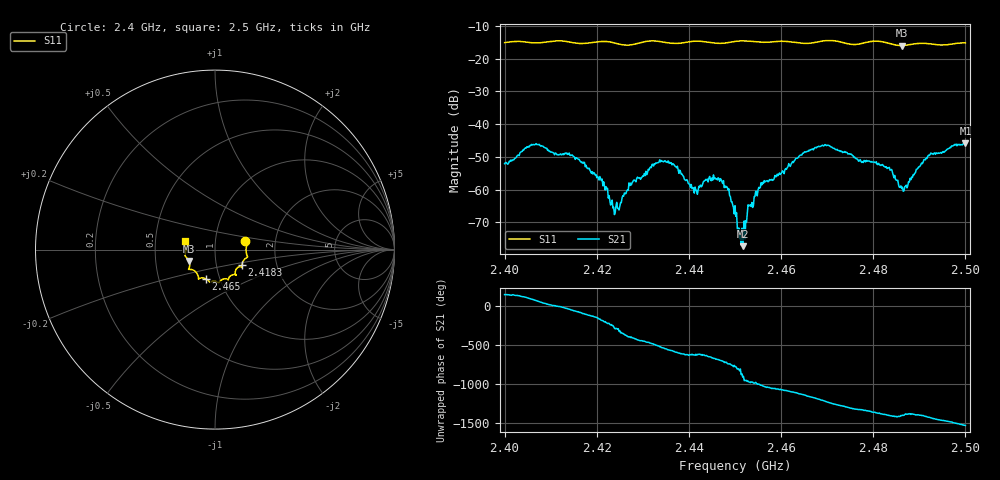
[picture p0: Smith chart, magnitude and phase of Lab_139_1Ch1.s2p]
# Hz S RI R 50
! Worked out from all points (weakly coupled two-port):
!   601 points, 2.4 GHz to 2.5 GHz, reference 50 ohm
!   highest |S21| = -45.81 dB at 2.5 GHz (marker M1); lowest = -77.2 dB at 2.4517 GHz (marker M2)
!   lowest |S11| = -16.0 dB at 2.4862 GHz (marker M3), VSWR 1.37, Z = 37.1 - j4.82 ohm
!   |S11| at or under -10 dB: start of sweep to end of sweep
!   S12 and S22 are empty: the file has one direction only
!   S11 on the Smith chart (normalised r, x): 2.4 GHz: 1.40, +0.13; 2.4183 GHz: 1.33, -0.24; 2.465 GHz: 0.86, -0.29; 2.5 GHz: 0.71, +0.07
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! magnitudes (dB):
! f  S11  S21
! 2.4 GHz  -15.1  -52.1
! 2.4063 GHz  -15.2  -46.3
! 2.4167 GHz  -15.4  -51.7
! 2.4183 GHz  -15.2  -53.4
! 2.4243 GHz  -15.4  -63.9
! 2.4275 GHz  -15.8  -58.6
! 2.4333 GHz  -14.7  -51.7
! 2.437 GHz  -15.4  -52.8
! 2.4415 GHz  -14.7  -60.2
! 2.447 GHz  -15.4  -56.9
! 2.45 GHz  -14.8  -64.9
! 2.4512 GHz  -14.6  -73.9
! 2.4517 GHz  -14.6  -77.2
! 2.4532 GHz  -14.7  -64.8
! 2.4555 GHz  -15.0  -59.3
! 2.465 GHz  -15.4  -48.6
! 2.4667 GHz  -15.2  -47.7
! 2.47 GHz  -14.5  -46.5
! 2.4833 GHz  -15.3  -53.3
! 2.4862 GHz  -16.0  -59.6
! 2.4923 GHz  -15.5  -49.3
! 2.5 GHz  -15.2  -45.8
